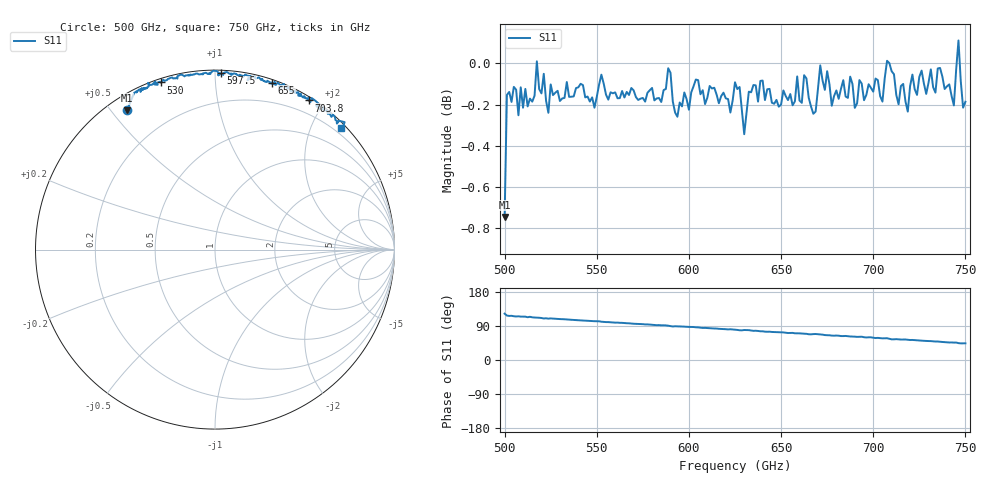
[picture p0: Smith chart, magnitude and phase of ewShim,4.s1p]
!Created with mwavepy.
# GHz S RI R 50.0
!freq	ReS11	ImS11
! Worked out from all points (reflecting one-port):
!   201 points, 500 GHz to 750 GHz, reference 50 ohm
!   lowest |S11| = -0.7 dB at 500 GHz (marker M1), VSWR 23.27, Z = 2.8 + j27.5 ohm
!   phase of S11 starts at 122 deg and turns -78 deg over the sweep
!   S11 on the Smith chart (normalised r, x): 500 GHz: 0.06, +0.55; 530 GHz: 0.02, +0.73; 597.5 GHz: 0.02, +1.04; 655 GHz: 0.03, +1.40; 703.8 GHz: 0.04, +1.81; 750 GHz: 0.08, +2.47
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500  -0.4901 0.7757
! Port Impedance 50.00000000000000 0.00000000000000
501.25  -0.4503 0.8733
502.5  -0.4364 0.8821
511.25  -0.407 0.8979
512.5  -0.3792 0.8996
513.75  -0.3989 0.8957
521.25  -0.3321 0.9371
530  -0.3027 0.9312
531.25  -0.2997 0.9336
562.5  -0.139 0.9709
588.75  -0.00947 0.9973
591.25  0.0264 0.9786
593.75  0.019 0.9704
597.5  0.0342 0.9833
625  0.1681 0.9751
627.5  0.198 0.9668
630  0.181 0.944
632.5  0.1914 0.9655
655  0.3162 0.9307
656.25  0.3098 0.9264
687.5  0.4641 0.8774
703.75  0.5228 0.8311
707.5  0.5384 0.8444
710  0.5783 0.8104
718.75  0.5804 0.7814
743.75  0.6792 0.7019
746.25  0.7222 0.7102
750  0.7041 0.6799
